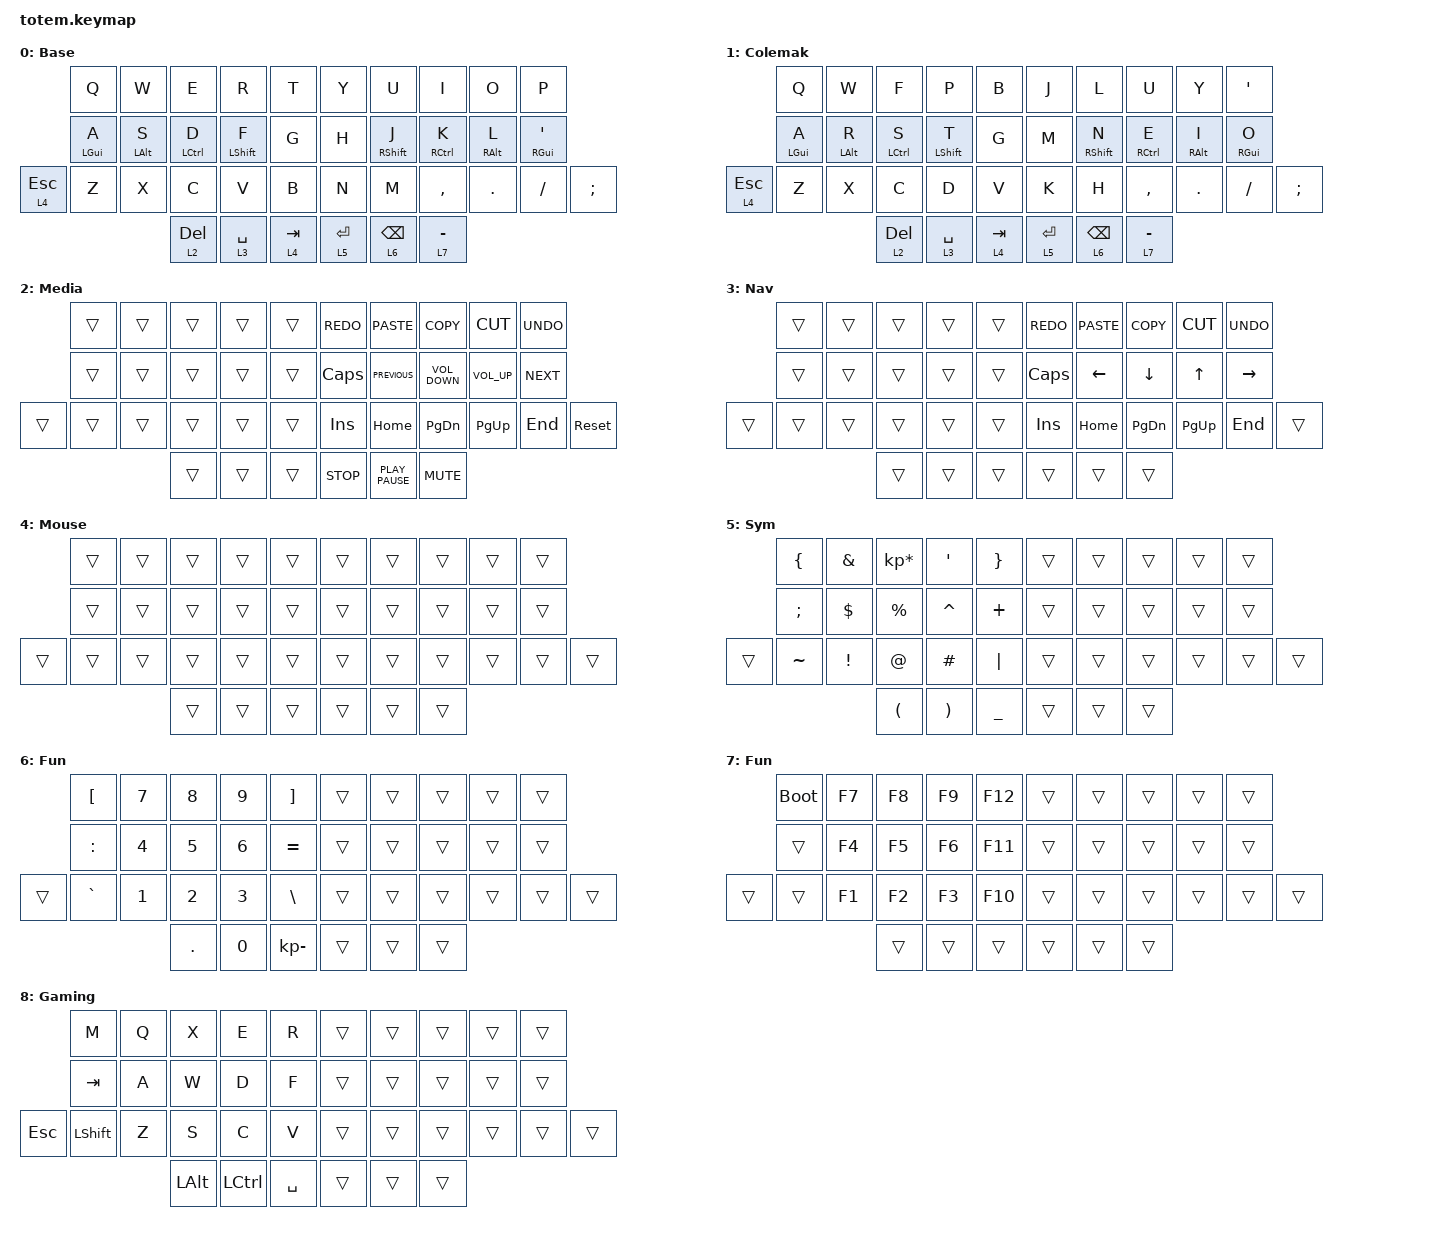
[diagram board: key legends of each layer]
//
//                                                        ▀▀▀▀▀     ▀▀▀▀▀          ▀▀█▀▀
//                                                        ▄▀▀▀▄  ▄  ▄▀▀▀▄  ▄  ▄▀▀▀▄  █  ▄▀▀▀▄
//                                                        █   █  █  █   █  █  █   █  █  █   █
//                                                         ▀▀▀   █   ▀▀▀   █   ▀▀▀   ▀   ▀▀▀
//                                                               █      ▄▄▄█▄▄▄    █   █  
//                                                               ▀      █  █  █     █▄█
//                                                             ▀▀▀▀▀    █  █  █      ▀
//                                                                      ▀  ▀  ▀
//
// ▄▄▄▄▄▄▄▄▄▄▄▄▄▄▄▄▄▄▄▄▄▄▄▄▄▄▄▄▄▄▄▄▄▄▄▄▄▄▄▄▄▄▄▄▄▄▄▄▄▄▄▄▄▄▄▄▄▄▄▄▄▄▄▄▄▄▄▄▄▄▄▄▄▄▄▄▄▄▄▄▄▄▄▄▄▄▄▄▄▄▄▄▄▄▄▄▄▄▄▄▄▄▄▄▄▄▄▄▄▄▄▄▄▄▄▄▄▄▄▄▄▄▄▄▄▄▄▄▄▄▄▄▄▄▄▄▄▄▄▄▄▄▄▄▄▄▄▄▄

#include <behaviors.dtsi>
#include <dt-bindings/zmk/keys.h>

#define Base        0
#define Media       1
#define Nav         2
#define Mouse       3
#define Sym         4
#define Num         5
#define Fun         6
#define Game        7
#define Colemak     8

&mt {
    quick-tap-ms = <100>;
    global-quick-tap;
    flavor = "tap-preferred";
    tapping-term-ms = <170>;
};

&lt {
    tapping-term-ms = <240>;
    flavor = "balanced";
    quick-tap-ms = <150>;
};

/ {
    behaviors {
        hm: homerow_mods {
            compatible = "zmk,behavior-hold-tap";
            label = "HOMEROW_MODS";
            #binding-cells = <2>;
            flavor = "tap-preferred";
            tapping-term-ms = <200>;
            quick-tap-ms = <125>;
            global-quick-tap;
            bindings = <&kp>, <&kp>;
        };
    };

    combos {
        compatible = "zmk,combos";

        toggle-gaming {
            bindings = <&tog 8>;
            key-positions = <1 0 2>;
        };

        toggle-colemak {
            bindings = <&tog 1>;
            key-positions = <7 8 9>;
        };

        ctrlshiftf {
            bindings = <&kp LC(LS(F))>;
            key-positions = <12 13 14>;
        };

        undo {
            bindings = <&kp LC(Z)>;
            key-positions = <21 22>;
        };

        cut {
            bindings = <&kp LC(X)>;
            key-positions = <22 23>;
        };

        copy {
            bindings = <&kp LC(C)>;
            key-positions = <23 24>;
        };

        paste {
            bindings = <&kp LC(V)>;
            key-positions = <24 25>;
        };

        backspace {
            bindings = <&kp BACKSPACE>;
            key-positions = <6 7>;
        };

        delete {
            bindings = <&kp DELETE>;
            key-positions = <7 8>;
        };

        left-parentheses {
            bindings = <&kp LEFT_PARENTHESIS>;
            key-positions = <16 17>;
        };

        right-parentheses {
            bindings = <&kp RIGHT_PARENTHESIS>;
            key-positions = <17 18>;
        };

        underscore {
            bindings = <&kp UNDERSCORE>;
            key-positions = <26 15>;
        };

        dash {
            bindings = <&kp MINUS>;
            key-positions = <16 27>;
        };

        left-bracket {
            bindings = <&kp LEFT_BRACKET>;
            key-positions = <27 28>;
        };

        right-bracket {
            bindings = <&kp RIGHT_BRACKET>;
            key-positions = <28 29>;
        };

        equals {
            bindings = <&kp EQUAL>;
            key-positions = <16 6>;
        };
    };

    keymap {
        compatible = "zmk,keymap";

        Base {
            display-name = "Base";
            bindings = <
              &kp Q       &kp W       &kp E        &kp R         &kp T        &kp Y      &kp U        &kp I        &kp O       &kp P
              &hm LGUI A  &hm LALT S  &hm LCTRL D  &hm LSHIFT F  &kp G        &kp H      &hm RSHFT J  &hm RCTRL K  &hm RALT L  &hm RGUI SINGLE_QUOTE
&lt 4 ESCAPE  &kp Z       &kp X       &kp C        &kp V         &kp B        &kp N      &kp M        &kp COMMA    &kp DOT     &kp SLASH              &kp SEMICOLON
                                      &lt 2 DEL    &lt 3 SPACE   &lt 4 TAB    &lt 5 RET  &lt 6 BSPC   &lt 7 MINUS
            >;
        };

        Colemak {
            display-name = "Colemak";
            bindings = <
              &kp Q       &kp W       &kp F        &kp P         &kp B        &kp J      &kp L        &kp U        &kp Y       &kp APOSTROPHE
              &hm LGUI A  &hm LALT R  &hm LCTRL S  &hm LSHIFT T  &kp G        &kp M      &hm RSHFT N  &hm RCTRL E  &hm RALT I  &hm RGUI O
&lt 4 ESCAPE  &kp Z       &kp X       &kp C        &kp D         &kp V        &kp K      &kp H        &kp COMMA    &kp DOT     &kp SLASH       &kp SEMICOLON
                                      &lt 2 DEL    &lt 3 SPACE   &lt 4 TAB    &lt 5 RET  &lt 6 BSPC   &lt 7 MINUS
            >;
        };

        Media {
            display-name = "Media";
            bindings = <
        &trans  &trans  &trans  &trans  &trans    &kp K_REDO    &kp K_PASTE       &kp K_COPY         &kp K_CUT        &kp K_UNDO
        &trans  &trans  &trans  &trans  &trans    &kp CAPSLOCK  &kp K_PREVIOUS    &kp C_VOLUME_DOWN  &kp C_VOLUME_UP  &kp K_NEXT
&trans  &trans  &trans  &trans  &trans  &trans    &kp INSERT    &kp HOME          &kp PAGE_DOWN      &kp PAGE_UP      &kp END     &sys_reset
                        &trans  &trans  &trans    &kp K_STOP    &kp K_PLAY_PAUSE  &kp K_MUTE
            >;
        };

        Nav {
            display-name = "Nav";
            bindings = <
        &trans  &trans  &trans  &trans  &trans    &kp K_REDO    &kp K_PASTE  &kp K_COPY      &kp K_CUT     &kp K_UNDO
        &trans  &trans  &trans  &trans  &trans    &kp CAPSLOCK  &kp LEFT     &kp DOWN_ARROW  &kp UP_ARROW  &kp RIGHT
&trans  &trans  &trans  &trans  &trans  &trans    &kp INSERT    &kp HOME     &kp PAGE_DOWN   &kp PAGE_UP   &kp END     &trans
                        &trans  &trans  &trans    &trans        &trans       &trans
            >;
        };

        Mouse {
            display-name = "Mouse";
            bindings = <
        &trans  &trans  &trans  &trans  &trans    &trans  &trans  &trans  &trans  &trans
        &trans  &trans  &trans  &trans  &trans    &trans  &trans  &trans  &trans  &trans
&trans  &trans  &trans  &trans  &trans  &trans    &trans  &trans  &trans  &trans  &trans  &trans
                        &trans  &trans  &trans    &trans  &trans  &trans
            >;
        };

        Sym {
            display-name = "Sym";
            bindings = <
        &kp LEFT_BRACE  &kp AMPERSAND  &kp KP_ASTERISK       &kp SQT                &kp RIGHT_BRACE    &trans  &trans  &trans  &trans  &trans
        &kp SEMICOLON   &kp DOLLAR     &kp PERCENT           &kp CARET              &kp PLUS           &trans  &trans  &trans  &trans  &trans
&trans  &kp TILDE       &kp EXCL       &kp AT                &kp HASH               &kp PIPE           &trans  &trans  &trans  &trans  &trans  &trans
                                       &kp LEFT_PARENTHESIS  &kp RIGHT_PARENTHESIS  &kp UNDERSCORE     &trans  &trans  &trans
            >;
        };

        Num {
            display-name = "Fun";
            bindings = <
        &kp LEFT_BRACKET  &kp NUMBER_7  &kp NUMBER_8  &kp NUMBER_9  &kp RIGHT_BRACKET    &trans  &trans  &trans  &trans  &trans
        &kp COLON         &kp NUMBER_4  &kp NUMBER_5  &kp NUMBER_6  &kp EQUAL            &trans  &trans  &trans  &trans  &trans
&trans  &kp GRAVE         &kp NUMBER_1  &kp NUMBER_2  &kp NUMBER_3  &kp BACKSLASH        &trans  &trans  &trans  &trans  &trans  &trans
                                        &kp PERIOD    &kp NUMBER_0  &kp KP_MINUS         &trans  &trans  &trans
            >;
        };

        Fun {
            display-name = "Fun";
            bindings = <
        &bootloader  &kp F7  &kp F8  &kp F9  &kp F12    &trans  &trans  &trans  &trans  &trans
        &trans       &kp F4  &kp F5  &kp F6  &kp F11    &trans  &trans  &trans  &trans  &trans
&trans  &trans       &kp F1  &kp F2  &kp F3  &kp F10    &trans  &trans  &trans  &trans  &trans  &trans
                             &trans  &trans  &trans     &trans  &trans  &trans
            >;
        };

        Gaming {
            display-name = "Gaming";
            bindings = <
            &kp M           &kp Q  &kp X         &kp E      &kp R        &trans  &trans  &trans  &trans  &trans
            &kp TAB         &kp A  &kp W         &kp D      &kp F        &trans  &trans  &trans  &trans  &trans
&kp ESCAPE  &kp LEFT_SHIFT  &kp Z  &kp S         &kp C      &kp V        &trans  &trans  &trans  &trans  &trans  &trans
                                   &kp LEFT_ALT  &kp LCTRL  &kp SPACE    &trans  &trans  &trans
            >;
        };
    };
};
